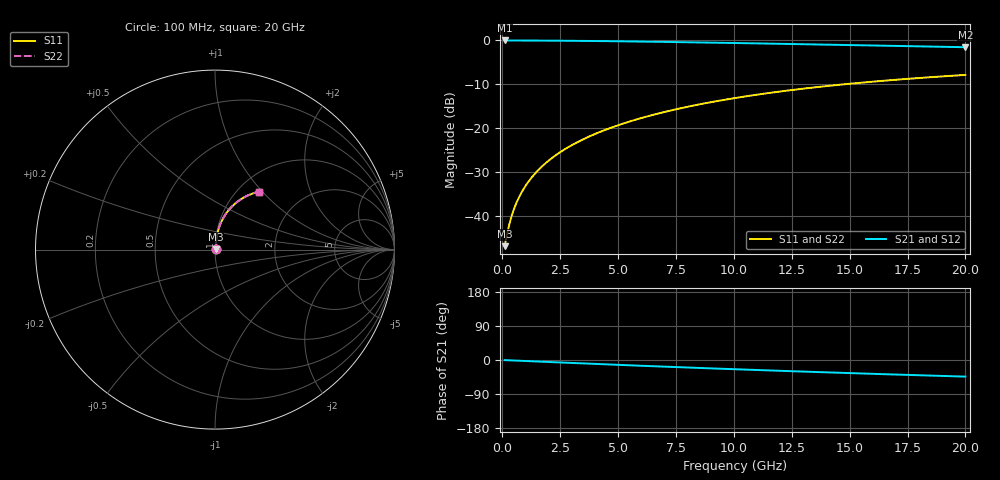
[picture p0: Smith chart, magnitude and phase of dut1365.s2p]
! Touchstone file exported from HFSS 2024.1.0
!  File:  C:/UserFiles/LocalFiles/RDL_TSV_Batchsim/temp_RDL_bottom_1365_1780370896.aedt
!  Generated:  11:30:51 AM Jun  2, 2026
!  Design:  RDL_bottom
!  Project:  temp_RDL_bottom_1365_1780370896
!  Setup:  Setup1
!  Solution:  Sweep
! Variables:
!  dtsv = 10.80580581um
!  hbump = 3um
!  htsv = 76.44um
!  ldown = 614.22um
!  lrdl = 100um
!  p = 40
!  p1 = 48.39um
!  rhole = 1um
!  t = 450um
!  tdown = 2.92um
!  trdl = 3.915915916um
!  wdown = 20.09um
!  wrdl = 20um
# GHz S MA R 50.000000
! Terminal data exported
! Port[1] = RDL1_T1
! Port[2] = RDL1_T2
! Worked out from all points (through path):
!   200 points, 100 MHz to 20 GHz, reference 50 ohm
!   highest |S21| = -0.03 dB at 100 MHz (marker M1); lowest = -1.6 dB at 20 GHz (marker M2)
!   group delay of S21, straight-line fit = 6.07 ps
!   lowest |S11| = -46.8 dB at 100 MHz (marker M3), VSWR 1.01, Z = 50.4 + j0.234 ohm
!   |S11| at or under -10 dB: start of sweep to 14.78 GHz
!   |S22| runs from -46.8 to -7.9 dB; largest |S21 - S12| = 3.3e-15
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0.1  0.004545 30.7  0.9961 -0.3  0.9961 -0.3  0.004545 30.7
! Gamma 0 0 0 0
! Port Impedance 50 0 50 0
0.2  0.006114 48.6  0.9959 -0.5  0.9959 -0.5  0.006114 48.6
0.3  0.00799 58.2  0.9957 -0.8  0.9957 -0.8  0.00799 58.2
0.4  0.009952 63.8  0.9955 -1.1  0.9955 -1.1  0.009952 63.8
0.5  0.01194 67.5  0.9953 -1.3  0.9953 -1.3  0.01194 67.5
0.6  0.01393 70.2  0.9951 -1.6  0.9951 -1.6  0.01393 70.2
0.8  0.01794 73.9  0.9947 -2.1  0.9947 -2.1  0.01794 73.9
1.1  0.02403 77.1  0.9941 -2.9  0.9941 -2.9  0.02403 77.1
1.3  0.02813 78.5  0.9936 -3.4  0.9936 -3.4  0.02813 78.5
1.6  0.03435 79.9  0.9928 -4.2  0.9928 -4.2  0.03435 79.9
2.1  0.04484 81.2  0.9911 -5.5  0.9911 -5.5  0.04484 81.2
2.7  0.0576 81.8  0.9887 -7.0  0.9887 -7.0  0.0576 81.8
3.5  0.07488 81.8  0.9846 -9.1  0.9846 -9.1  0.07489 81.8
4.2  0.09023 81.4  0.9804 -10.8  0.9804 -10.8  0.09023 81.4
5  0.108 80.6  0.975 -12.8  0.975 -12.8  0.108 80.6
5.9  0.1281 79.4  0.9682 -15.0  0.9682 -15.0  0.1281 79.4
6.8  0.1483 78.0  0.9609 -17.1  0.9609 -17.1  0.1484 78.0
8.4  0.1842 75.2  0.9468 -20.8  0.9468 -20.8  0.1842 75.2
10.1  0.2215 71.9  0.931 -24.5  0.931 -24.5  0.2215 72.0
13.4  0.2897 65.4  0.8989 -31.4  0.8989 -31.4  0.2898 65.4
16.7  0.3507 59.0  0.8663 -37.8  0.8663 -37.8  0.3508 59.0
20  0.4037 52.9  0.8343 -43.9  0.8343 -43.9  0.4038 52.9
